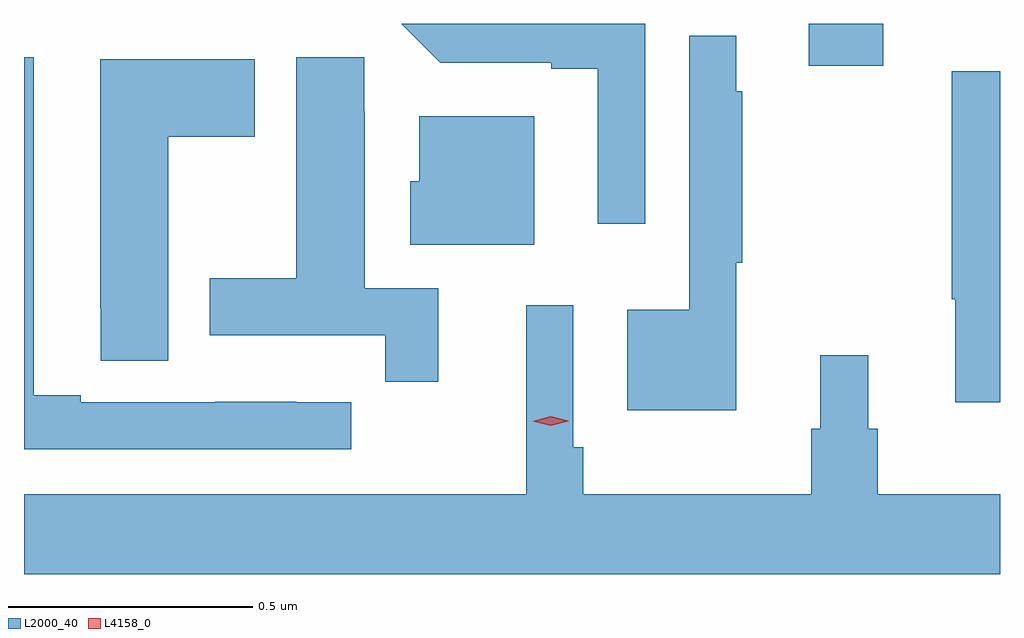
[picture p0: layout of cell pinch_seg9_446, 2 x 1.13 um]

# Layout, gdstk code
import gdstk
lib = gdstk.Library(unit=1e-6, precision=1e-09)
def R(c, l, rs):  # rectangles x0, y0, x1, y1
    for r in rs: c.add(gdstk.rectangle(r[:2], r[2:], *l))
def P(c, l, *ps):  # polygons
    for p in ps: c.add(gdstk.Polygon(p, *l))
L2000_40 = (2000, 40)
L4158_0 = (4158, 0)

pinch_seg9_446 = lib.new_cell('pinch_seg9_446')
R(pinch_seg9_446, L2000_40, [(215,1217.442,215.153,1217.528)])
P(pinch_seg9_446, L2000_40, [(214.665,1217.528),(214.165,1217.528),(214.245,1217.448),(214.472,1217.448),(214.472,1217.436),(214.568,1217.436),(214.568,1217.118),(214.665,1217.118)],
  [(214.852,1217.038),(214.864,1217.038),(214.864,1217.39),(214.852,1217.39),(214.852,1217.503),(214.755,1217.503),(214.755,1216.942),(214.628,1216.942),(214.628,1216.736),(214.852,1216.736)],
  [(214.063,1216.752),(213.95,1216.752),(213.95,1216.753),(213.784,1216.753),(213.784,1216.752),(213.508,1216.752),(213.508,1216.767),(213.412,1216.767),(213.412,1217.459),(213.392,1217.459),(213.392,1216.656),(214.063,1216.656)],
  [(214.241,1216.986),(214.09,1216.986),(214.09,1217.348),(214.089,1217.348),(214.089,1217.459),(213.95,1217.459),(213.95,1217.007),(213.773,1217.007),(213.773,1216.89),(214.132,1216.89),(214.132,1216.794),(214.241,1216.794)],
  [(213.688,1217.296),(213.865,1217.296),(213.865,1217.455),(213.548,1217.455),(213.548,1216.945),(213.549,1216.945),(213.549,1216.837),(213.688,1216.837)],
  [(215.392,1217.431),(215.293,1217.431),(215.293,1216.964),(215.3,1216.964),(215.3,1216.752),(215.392,1216.752)],
  [(214.438,1217.338),(214.202,1217.338),(214.202,1217.205),(214.184,1217.205),(214.184,1217.075),(214.438,1217.075)],
  [(215.392,1216.564),(215.141,1216.564),(215.141,1216.698),(215.122,1216.698),(215.122,1216.849),(215.024,1216.849),(215.024,1216.698),(215.005,1216.698),(215.005,1216.564),(214.538,1216.564),(214.538,1216.66),(214.518,1216.66),(214.518,1216.951),(214.421,1216.951),(214.421,1216.564),(213.392,1216.564),(213.392,1216.4),(215.392,1216.4)])
P(pinch_seg9_446, L4158_0, [(214.471,1216.704),(214.435,1216.713),(214.435,1216.713),(214.435,1216.714),(214.471,1216.724),(214.507,1216.715),(214.507,1216.715),(214.507,1216.714)])

lib.write_gds('pinch_seg9_446.gds')
